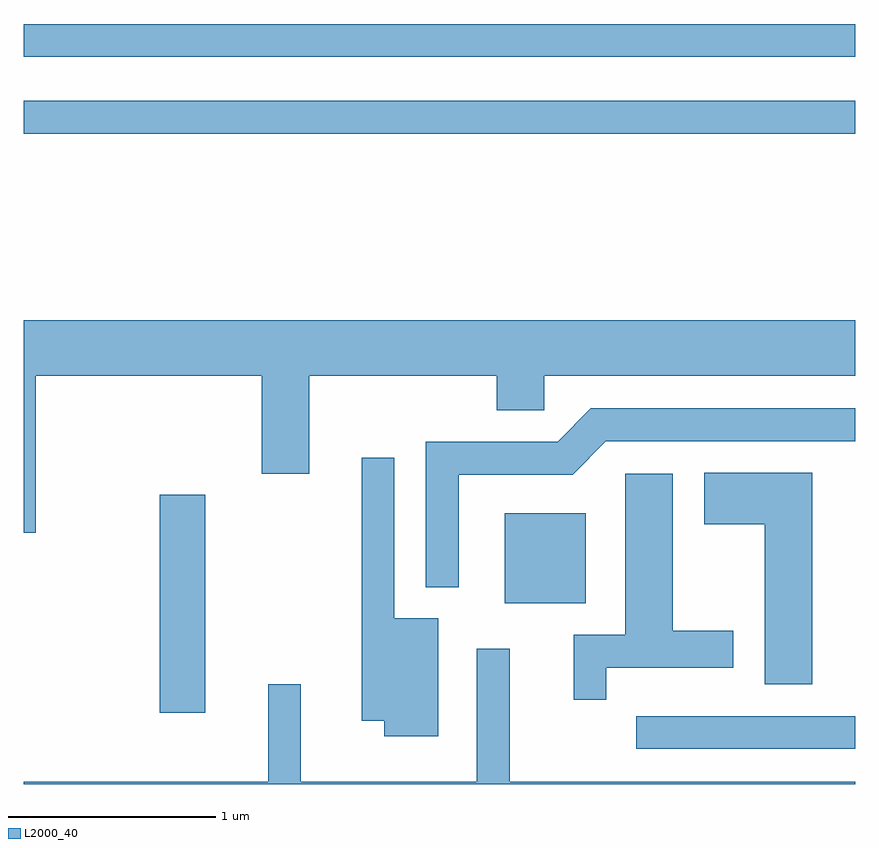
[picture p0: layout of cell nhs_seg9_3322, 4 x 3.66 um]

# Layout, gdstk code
import gdstk
lib = gdstk.Library(unit=1e-6, precision=1e-09)
def R(c, l, rs):  # rectangles x0, y0, x1, y1
    for r in rs: c.add(gdstk.rectangle(r[:2], r[2:], *l))
def P(c, l, *ps):  # polygons
    for p in ps: c.add(gdstk.Polygon(p, *l))
L2000_40 = (2000, 40)

nhs_seg9_3322 = lib.new_cell('nhs_seg9_3322')
R(nhs_seg9_3322, L2000_40, [(284.558,2076.601,285.611,2076.759), (282.266,2076.776,282.484,2077.824), (283.926,2077.301,284.314,2077.734), (281.611,2079.561,285.611,2079.719), (281.611,2079.931,285.611,2080.089)])
P(nhs_seg9_3322, L2000_40, [(281.669,2078.396),(282.756,2078.396),(282.756,2077.926),(282.984,2077.926),(282.984,2078.396),(283.886,2078.396),(283.886,2078.231),(284.114,2078.231),(284.114,2078.396),(285.611,2078.396),(285.611,2078.664),(281.611,2078.664),(281.611,2077.641),(281.669,2077.641)],
  [(283.704,2077.921),(284.252,2077.921),(284.412,2078.081),(285.611,2078.081),(285.611,2078.239),(284.339,2078.239),(284.179,2078.079),(283.546,2078.079),(283.546,2077.378),(283.704,2077.378)],
  [(283.604,2077.229),(283.394,2077.229),(283.394,2078.003),(283.236,2078.003),(283.236,2076.736),(283.346,2076.736),(283.346,2076.661),(283.604,2076.661)],
  [(285.404,2077.929),(284.886,2077.929),(284.886,2077.681),(285.176,2077.681),(285.176,2076.911),(285.404,2076.911)],
  [(284.414,2076.991),(285.024,2076.991),(285.024,2077.169),(284.734,2077.169),(284.734,2077.924),(284.506,2077.924),(284.506,2077.149),(284.256,2077.149),(284.256,2076.838),(284.414,2076.838)],
  [(285.611,2076.444),(283.949,2076.444),(283.949,2077.083),(283.791,2077.083),(283.791,2076.444),(282.944,2076.444),(282.944,2076.913),(282.786,2076.913),(282.786,2076.444),(281.611,2076.444),(281.611,2076.432),(285.611,2076.432)])

lib.write_gds('nhs_seg9_3322.gds')
